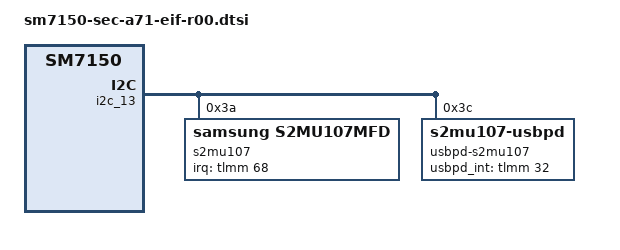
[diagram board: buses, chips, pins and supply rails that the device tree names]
/*
 * Copyright (c) 2019, The Linux Foundation. All rights reserved.
 *
 * This program is free software; you can redistribute it and/or modify
 * it under the terms of the GNU General Public License version 2 and
 * only version 2 as published by the Free Software Foundation.
 *
 * This program is distributed in the hope that it will be useful,
 * but WITHOUT ANY WARRANTY; without even the implied warranty of
 * MERCHANTABILITY or FITNESS FOR A PARTICULAR PURPOSE.  See the
 * GNU General Public License for more details.
 */


&i2c_13 {
	s2mu107@3A {
		status = "okay";
		compatible = "samsung,s2mu107mfd";
		reg = <0x3A>;
		pinctrl-names = "default";
		pinctrl-0 = <&if_pmic_irq>;
		s2mu107,irq-gpio = <&tlmm 68 0>;
		s2mu107,wakeup;
	};
		
	usbpd-s2mu107@3C {
		status = "okay";
		compatible = "s2mu107-usbpd";
		reg = <0x3C>;
		pinctrl-names = "default";
		pinctrl-0     = <&usbpd_irq>;
		usbpd,usbpd_int = <&tlmm 32 0>;
	};
};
